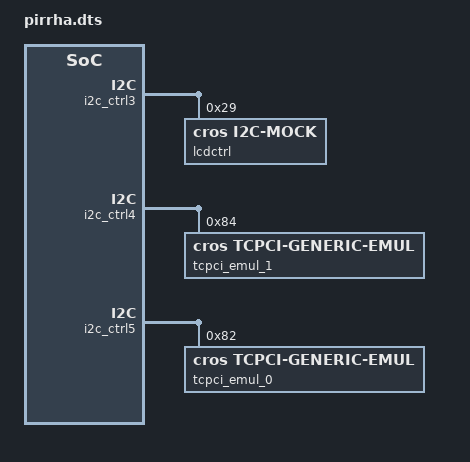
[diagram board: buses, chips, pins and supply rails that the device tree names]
/* Copyright 2023 The ChromiumOS Authors
 * Use of this source code is governed by a BSD-style license that can be
 * found in the LICENSE file.
 */
#include <it8xxx2_emul.dts>
#include <dt-bindings/usb_pd_tcpm.h>
#include "../program/nissa/cbi.dtsi"

/ {
	aliases {
		gpio-cbi-wp = &gpio_ec_cbi_wp;
		gpio-wp = &gpio_ec_wp_odl;
		/*
		 * USB-C: interrupt input.
		 * I2C pins are on i2c_ec_i2c_sub_usb_c1
		 */
		gpio-usb-c1-int-odl = &gpio_sb_1;
		/*
		 * USB-A: VBUS enable output
		 * LTE: power enable output
		 */
		gpio-en-usb-a1-vbus = &gpio_sb_2;
		/*
		 * HDMI: power enable output, HDMI enable output,
		 * and HPD input
		 */
		gpio-en-rails-odl = &gpio_sb_1;
		gpio-hdmi-en-odl = &gpio_sb_4;
		gpio-hpd-odl = &gpio_sb_3;
		/*
		 * Enable S5 rails for LTE sub-board
		 */
		gpio-en-sub-s5-rails = &gpio_sb_2;
	};

	named-gpios {
		compatible = "named-gpios";

		/delete-node/ tablet_mode_l;
		/delete-node/ pen_detect_odl;
		/delete-node/ ec_gsc_packet_mode;
		/delete-node/ espi_ec_alert_soc_l;
		/delete-node/ hdmi_sel;
		/delete-node/ en_kb_bl;
		/delete-node/ pwm_kb_bl;

		gpio_ec_gsc_packet_mode: ec_gsc_packet_mode {
			gpios = <&gpioa 7 GPIO_OUTPUT>;
			enum-name = "GPIO_PACKET_MODE_EN";
		};

		gpio_sb_1: sb_1 {
			gpios = <&gpioe 6 0>;
			no-auto-init;
		};
		gpio_sb_2: sb_2 {
			gpios = <&gpiof 0 0>;
			no-auto-init;
		};

		gpio_sb_3: sb_3 {
			gpios = <&gpioe 7 0>;
			no-auto-init;
		};
		gpio_sb_4: sb_4 {
			gpios = <&gpioe 0 0>;
			no-auto-init;
		};

		gpio_ec_chg_led_r: ec_chg_led_r {
			gpios = <&gpioa 1 GPIO_OUTPUT_HIGH>;
		};
		gpio_ec_chg_led_g: ec_chg_led_g {
			gpios = <&gpioa 2 GPIO_OUTPUT_HIGH>;
		};
		gpio_ec_chg_led_b: ec_chg_led_b {
			gpios = <&gpioa 3 GPIO_OUTPUT_HIGH>;
		};

		gpio_ec_en_pp1800_panel_x: ec_en_pp1800_panel_x {
			gpios = <&gpiod 7 (GPIO_INPUT | GPIO_VOLTAGE_1P8)>;
		};
		gpio_ec_tsp_ta: ec_tsp_ta {
			gpios = <&gpioc 3 GPIO_OUTPUT_LOW>;
		};
		gpio_lcd_rst_n: lcd_rst_n {
			gpios = <&gpioj 7 (GPIO_INPUT | GPIO_VOLTAGE_1P8)>;
		};

		gpio_gsc_ec_pwr_btn_odl: gsc_ec_pwr_btn_odl {
			gpios = <&gpioe 2 GPIO_INPUT_PULL_UP>;
			enum-name = "GPIO_POWER_BUTTON_L";
		};
		gpio_voldn_btn_odl: voldn_btn_odl {
			gpios = <&gpioi 6 GPIO_INPUT_PULL_UP>;
			enum-name = "GPIO_VOLUME_DOWN_L";
		};
		gpio_volup_btn_odl: volup_btn_odl {
			gpios = <&gpioi 7 GPIO_INPUT_PULL_UP>;
			enum-name = "GPIO_VOLUME_UP_L";
		};
		gpio_ec_wp_odl: ec_wp_odl {
			gpios = <&gpioa 6 (GPIO_INPUT | GPIO_ACTIVE_LOW)>;
		};
		gpio_lid_open: lid_open {
			gpios = <&gpiof 3 GPIO_INPUT>;
			enum-name = "GPIO_LID_OPEN";
		};
		gpio_imu_int_l: imu_int_l {
			gpios = <&gpioj 0 (GPIO_INPUT | GPIO_VOLTAGE_1P8)>;
		};
		gpio_acc_int_l: acc_int_l {
			gpios = <&gpioc 0 (GPIO_INPUT | GPIO_VOLTAGE_1P8)>;
		};
		gpio_usb_c0_int_odl: usb_c0_int_odl {
			gpios = <&gpiok 0 GPIO_INPUT_PULL_UP>;
		};
		gpio_en_usb_a0_vbus: en_usb_a0_vbus {
			gpios = <&gpiol 6 GPIO_OUTPUT>;
		};
		gpio_ec_entering_rw: ec_entering_rw {
			gpios = <&gpioc 7 GPIO_OUTPUT>;
			enum-name = "GPIO_ENTERING_RW";
		};
		gpio_en_usb_c0_cc1_vconn: en_usb_c0_cc1_vconn {
			gpios = <&gpioh 4 GPIO_OUTPUT>;
		};
		gpio_en_usb_c0_cc2_vconn: en_usb_c0_cc2_vconn {
			gpios = <&gpioh 6 GPIO_OUTPUT>;
		};
		gpio_ec_cbi_wp: ec_cbi_wp {
			gpios = <&gpioj 5 GPIO_OUTPUT>;
		};
	};

	gpio-interrupts {
		compatible = "cros-ec,gpio-interrupts";

		int_usb_c0: usb_c0 {
			irq-pin = <&gpio_usb_c0_int_odl>;
			flags = <GPIO_INT_EDGE_FALLING>;
			handler = "usb_interrupt";
		};
		int_usb_c1: usb_c1 {
			irq-pin = <&gpio_sb_1>;
			flags = <GPIO_INT_EDGE_FALLING>;
			handler = "usb_interrupt";
		};
		int_pannel_power_change: pannel_power_change {
			irq-pin = <&gpio_ec_en_pp1800_panel_x>;
			flags = <GPIO_INT_EDGE_BOTH>;
			handler = "panel_power_change_interrupt";
		};
		int_lcd_rst_n: lcd_rst_n {
			irq-pin = <&gpio_lcd_rst_n>;
			flags = <GPIO_INT_EDGE_FALLING>;
			handler = "lcd_reset_change_interrupt";
		};
	};

	named-i2c-ports {
		compatible = "named-i2c-ports";

		i2c_ec_i2c_batt: ec_i2c_batt {
			i2c-port = <&i2c_ctrl0>;
			enum-names = "I2C_PORT_BATTERY";
		};
		i2c_ec_i2c_sub_usb_c1: ec_i2c_sub_usb_c1 {
			i2c-port = <&i2c_ctrl4>;
			enum-names = "I2C_PORT_USB_C1_TCPC";
		};
		i2c_ec_i2c_usb_c0: ec_i2c_usb_c0 {
			i2c-port = <&i2c_ctrl5>;
			enum-names = "I2C_PORT_USB_C0_TCPC";
		};
	};

	usba {
		compatible = "cros-ec,usba-port-enable-pins";
		/*
		 * sb_2 is only configured as GPIO when USB-A1 is present,
		 * but it's still safe to control when disabled.
		 *
		 * ILIM_SEL pins are referred to by legacy enum name,
		 * GPIO_USB*_ILIM_SEL. The one for port A1 is unused on
		 * sub-boards that don't have USB-A so is safe to control
		 * regardless of system configuration.
		 */
		enable-pins = <&gpio_en_usb_a0_vbus &gpio_sb_2>;
		status = "okay";
	};

	usbc {
		#address-cells = <1>;
		#size-cells = <0>;

		port0@0 {
			compatible = "named-usbc-port";
			reg = <0>;
			tcpc = <&tcpci_emul_0>;
			usb-mux-chain-0 {
				compatible = "cros-ec,usb-mux-chain";
				usb-muxes = <&virtual_mux_0>;
			};
		};
		port0-muxes {
			virtual_mux_0: virtual-mux-0 {
				compatible = "cros-ec,usbc-mux-virtual";
			};
		};

		port1@1 {
			compatible = "named-usbc-port";
			reg = <1>;
			tcpc = <&tcpci_emul_1>;
			usb-mux-chain-1 {
				compatible = "cros-ec,usb-mux-chain";
				usb-muxes = <&virtual_mux_1 &virtual_mux_1>;
			};
			usb_mux_chain_1_no_mux: usb-mux-chain-1-no-mux {
				compatible = "cros-ec,usb-mux-chain";
				alternative-chain;
				usb-muxes = <&virtual_mux_1>;
			};
		};
		port1-muxes {
			virtual_mux_1: virtual-mux-1 {
				compatible = "cros-ec,usbc-mux-virtual";
			};
		};
	};
};

&i2c_ctrl3 {
	status = "okay";

	lcdctrl: lcd_port@29 {
		compatible = "cros,i2c-mock";
		reg = <0x29>;
	};
};

&i2c_ctrl4 {
	status = "okay";

	tcpci_emul_1: tcpci_emul@84 {
		compatible = "cros,tcpci-generic-emul";
		status = "okay";
		reg = <0x84>;
	};
};

&i2c_ctrl5 {
	status = "okay";

	tcpci_emul_0: tcpci_emul@82 {
		compatible = "cros,tcpci-generic-emul";
		status = "okay";
		reg = <0x82>;
	};
};
